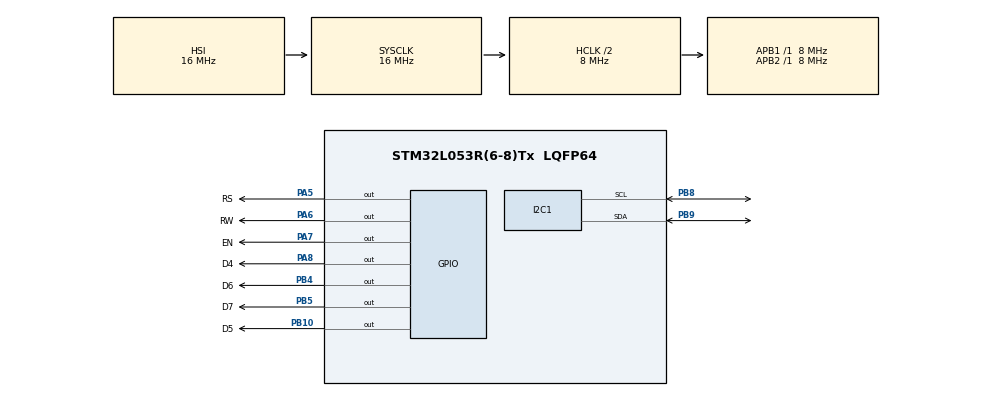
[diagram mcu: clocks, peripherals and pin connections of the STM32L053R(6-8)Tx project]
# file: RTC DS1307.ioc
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I2C1.Timing=0x00201D2B
Mcu.Family=STM32L0
Mcu.Name=STM32L053R(6-8)Tx
Mcu.Package=LQFP64
PA5.GPIO_Label=RS
PA5.Signal=GPIO_Output
PA6.GPIO_Label=RW
PA6.Signal=GPIO_Output
PA7.GPIO_Label=EN
PA7.Signal=GPIO_Output
PA8.GPIO_Label=D4
PA8.Signal=GPIO_Output
PB10.GPIO_Label=D5
PB10.Signal=GPIO_Output
PB4.GPIO_Label=D6
PB4.Signal=GPIO_Output
PB5.GPIO_Label=D7
PB5.Signal=GPIO_Output
PB8.Mode=I2C
PB8.Signal=I2C1_SCL
PB9.Mode=I2C
PB9.Signal=I2C1_SDA
ProjectManager.HeapSize=0x200
ProjectManager.StackSize=0x400
ProjectManager.TargetToolchain=STM32CubeIDE
RCC.AHBCLKDivider=RCC_SYSCLK_DIV2
RCC.AHBFreq_Value=8000000
RCC.APB1Freq_Value=8000000
RCC.APB1TimFreq_Value=8000000
RCC.APB2Freq_Value=8000000
RCC.APB2TimFreq_Value=8000000
RCC.HCLKFreq_Value=8000000
RCC.HSE_VALUE=8000000
RCC.HSI16_VALUE=16000000
RCC.HSI48_VALUE=48000000
RCC.HSI_VALUE=16000000
RCC.LSE_VALUE=32768
RCC.MSI_VALUE=2097000
RCC.SYSCLKFreq_VALUE=16000000
RCC.SYSCLKSource=RCC_SYSCLKSOURCE_HSI
RCC.VCOOutputFreq_Value=48000000
board=NUCLEO-L053R8

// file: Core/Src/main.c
/* USER CODE BEGIN Header */
/**
  ******************************************************************************
  * @file           : main.c
  * @brief          : Main program body
  ******************************************************************************
  * @attention
  *
  * Copyright (c) 2025 STMicroelectronics.
  * All rights reserved.
  *
  * This software is licensed under terms that can be found in the LICENSE file
  * in the root directory of this software component.
  * If no LICENSE file comes with this software, it is provided AS-IS.
  *
  ******************************************************************************
  */
/* USER CODE END Header */
#include "main.h"

/* USER CODE BEGIN Includes */
#include "display16x2.h"
/* USER CODE END Includes */

/* USER CODE BEGIN PTD */
typedef struct{
	uint8_t seconds;
	uint8_t minutes;
	uint8_t hours;
	uint8_t day;
	uint8_t date;
	uint8_t month;
	uint8_t year;
}RTC_DS1307;

/* USER CODE END PTD */

/* USER CODE BEGIN PD */
#define DS1307_ADDRS 0x68
#define DEC_TO_BCD 0
#define BCD_TO_DEC 1
/* USER CODE END PD */

I2C_HandleTypeDef hi2c1;

/* USER CODE BEGIN PV */
BIT port;
INFO_LCD info_lcd;
HAL_StatusTypeDef error;
/* USER CODE END PV */

void SystemClock_Config(void);
static void MX_GPIO_Init(void);
static void MX_I2C1_Init(void);
/* USER CODE BEGIN PFP */
int DS1307_DATA_CONV(uint8_t MODE, int VAL_TO_CONV);
/* USER CODE END PFP */

int main(void)
{

  /* MCU Configuration--------------------------------------------------------*/

  /* Reset of all peripherals, Initializes the Flash interface and the Systick. */
  HAL_Init();

  /* Configure the system clock */
  SystemClock_Config();

  /* Initialize all configured peripherals */
  MX_GPIO_Init();
  MX_I2C1_Init();
  /* USER CODE BEGIN 2 */

  // I2C LOGIC
  error = HAL_I2C_IsDeviceReady(&hi2c1, DS1307_ADDRS << 1, 3, 1000);

  // LCD LOGIC
  StartLcd();
  uint8_t i = 0, y = 0;

  /* USER CODE END 2 */

  /* Infinite loop */
  /* USER CODE BEGIN WHILE */
  while (1) {
	  SendMessage(i, y, "SUELEN!");
	  info_lcd.word_size = WordSize("SUELEN!");
	  if(i <= MAX_COLUMNS - info_lcd.word_size) i++;
	  else {
		  i = 0;
		  y++;
		  if(y > 1) y = 0;
	  }
	  HAL_Delay(500);
	  ControlLcd(CLEAR_ALL, LCD_INSTRUCTION);
	  /*I2C LOGIC*/

    /* USER CODE END WHILE */

  }
}

void SystemClock_Config(void)
{
  RCC_OscInitTypeDef RCC_OscInitStruct = {0};
  RCC_ClkInitTypeDef RCC_ClkInitStruct = {0};
  RCC_PeriphCLKInitTypeDef PeriphClkInit = {0};

  /** Configure the main internal regulator output voltage
  */
  __HAL_PWR_VOLTAGESCALING_CONFIG(PWR_REGULATOR_VOLTAGE_SCALE1);

  /** Initializes the RCC Oscillators according to the specified parameters
  * in the RCC_OscInitTypeDef structure.
  */
  RCC_OscInitStruct.OscillatorType = RCC_OSCILLATORTYPE_HSI;
  RCC_OscInitStruct.HSIState = RCC_HSI_ON;
  RCC_OscInitStruct.HSICalibrationValue = RCC_HSICALIBRATION_DEFAULT;
  RCC_OscInitStruct.PLL.PLLState = RCC_PLL_NONE;
  if (HAL_RCC_OscConfig(&RCC_OscInitStruct) != HAL_OK)
  {
    Error_Handler();
  }

  /** Initializes the CPU, AHB and APB buses clocks
  */
  RCC_ClkInitStruct.ClockType = RCC_CLOCKTYPE_HCLK|RCC_CLOCKTYPE_SYSCLK
                              |RCC_CLOCKTYPE_PCLK1|RCC_CLOCKTYPE_PCLK2;
  RCC_ClkInitStruct.SYSCLKSource = RCC_SYSCLKSOURCE_HSI;
  RCC_ClkInitStruct.AHBCLKDivider = RCC_SYSCLK_DIV2;
  RCC_ClkInitStruct.APB1CLKDivider = RCC_HCLK_DIV1;
  RCC_ClkInitStruct.APB2CLKDivider = RCC_HCLK_DIV1;

  if (HAL_RCC_ClockConfig(&RCC_ClkInitStruct, FLASH_LATENCY_0) != HAL_OK)
  {
    Error_Handler();
  }
  PeriphClkInit.PeriphClockSelection = RCC_PERIPHCLK_I2C1;
  PeriphClkInit.I2c1ClockSelection = RCC_I2C1CLKSOURCE_PCLK1;
  if (HAL_RCCEx_PeriphCLKConfig(&PeriphClkInit) != HAL_OK)
  {
    Error_Handler();
  }
}

static void MX_I2C1_Init(void)
{

  hi2c1.Instance = I2C1;
  hi2c1.Init.Timing = 0x00201D2B;
  hi2c1.Init.OwnAddress1 = 0;
  hi2c1.Init.AddressingMode = I2C_ADDRESSINGMODE_7BIT;
  hi2c1.Init.DualAddressMode = I2C_DUALADDRESS_DISABLE;
  hi2c1.Init.OwnAddress2 = 0;
  hi2c1.Init.OwnAddress2Masks = I2C_OA2_NOMASK;
  hi2c1.Init.GeneralCallMode = I2C_GENERALCALL_DISABLE;
  hi2c1.Init.NoStretchMode = I2C_NOSTRETCH_DISABLE;
  if (HAL_I2C_Init(&hi2c1) != HAL_OK)
  {
    Error_Handler();
  }

  /** Configure Analogue filter
  */
  if (HAL_I2CEx_ConfigAnalogFilter(&hi2c1, I2C_ANALOGFILTER_ENABLE) != HAL_OK)
  {
    Error_Handler();
  }

  /** Configure Digital filter
  */
  if (HAL_I2CEx_ConfigDigitalFilter(&hi2c1, 0) != HAL_OK)
  {
    Error_Handler();
  }

}

static void MX_GPIO_Init(void)
{
  GPIO_InitTypeDef GPIO_InitStruct = {0};
  /* USER CODE BEGIN MX_GPIO_Init_1 */

	__HAL_RCC_GPIOB_CLK_ENABLE();

	// Configura PB6 (SCL) e PB7 (SDA) para I2C1
	GPIO_InitStruct.Pin = GPIO_PIN_6 | GPIO_PIN_7;
	GPIO_InitStruct.Mode = GPIO_MODE_AF_OD;        // Alternate Function Open Drain
	GPIO_InitStruct.Pull = GPIO_PULLUP;            // Pull-up habilitado
	GPIO_InitStruct.Speed = GPIO_SPEED_FREQ_HIGH;
	GPIO_InitStruct.Alternate = GPIO_AF1_I2C1;     // AF1 para I2C1
	HAL_GPIO_Init(GPIOB, &GPIO_InitStruct);
  /* USER CODE END MX_GPIO_Init_1 */

  /* GPIO Ports Clock Enable */
  __HAL_RCC_GPIOA_CLK_ENABLE();
  __HAL_RCC_GPIOB_CLK_ENABLE();

  /*Configure GPIO pin Output Level */
  HAL_GPIO_WritePin(GPIOA, RS_Pin|RW_Pin|EN_Pin|D4_Pin, GPIO_PIN_RESET);

  /*Configure GPIO pin Output Level */
  HAL_GPIO_WritePin(GPIOB, D5_Pin|D6_Pin|D7_Pin, GPIO_PIN_RESET);

  /*Configure GPIO pins : RS_Pin RW_Pin EN_Pin D4_Pin */
  GPIO_InitStruct.Pin = RS_Pin|RW_Pin|EN_Pin|D4_Pin;
  GPIO_InitStruct.Mode = GPIO_MODE_OUTPUT_PP;
  GPIO_InitStruct.Pull = GPIO_NOPULL;
  GPIO_InitStruct.Speed = GPIO_SPEED_FREQ_LOW;
  HAL_GPIO_Init(GPIOA, &GPIO_InitStruct);

  /*Configure GPIO pins : D5_Pin D6_Pin D7_Pin */
  GPIO_InitStruct.Pin = D5_Pin|D6_Pin|D7_Pin;
  GPIO_InitStruct.Mode = GPIO_MODE_OUTPUT_PP;
  GPIO_InitStruct.Pull = GPIO_NOPULL;
  GPIO_InitStruct.Speed = GPIO_SPEED_FREQ_LOW;
  HAL_GPIO_Init(GPIOB, &GPIO_InitStruct);

}

/* USER CODE BEGIN 4 */

int DS1307_DATA_CONV(uint8_t MODE, int VAL_TO_CONV){
	switch(MODE){
		case DEC_TO_BCD:
			return (int) (VAL_TO_CONV / 10 * 16) + (VAL_TO_CONV % 10);
			break;

		case BCD_TO_DEC:
			return (int) (VAL_TO_CONV / 16 * 10) + (VAL_TO_CONV % 16);
			break;
	}

	return 0;
}
/* USER CODE END 4 */

void Error_Handler(void)
{
  __disable_irq();
  while (1)
  {
  }
}
